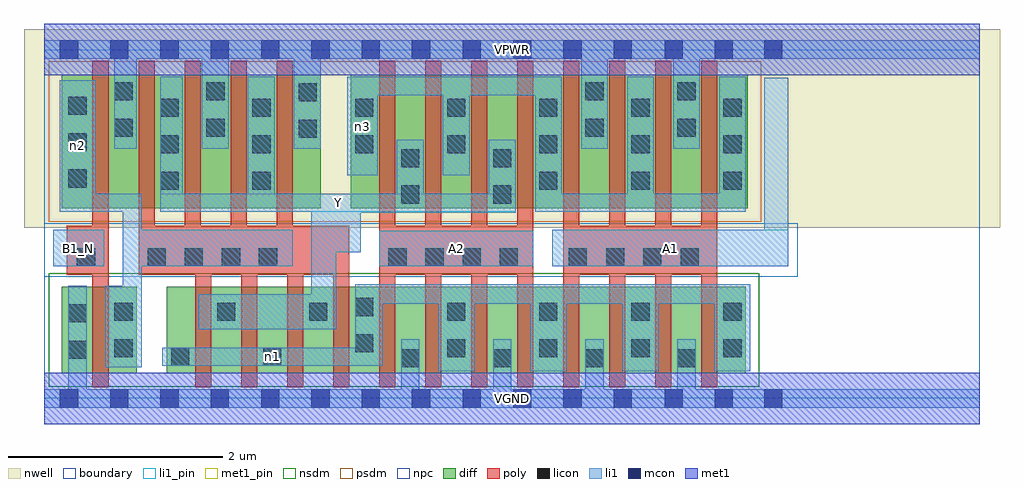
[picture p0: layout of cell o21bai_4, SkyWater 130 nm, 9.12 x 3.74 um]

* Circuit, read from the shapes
.subckt o21bai_4 A1 A2 B1_N VGND VPWR Y n1 n2 n3
XM1 n2 B1_N VGND VSUBS sky130_fd_pr__nfet_01v8 w=0.81 l=0.15
XM2 Y n2 n1 VSUBS sky130_fd_pr__nfet_01v8 w=0.81 l=0.15 m=4
XM3 VGND A2 n1 VSUBS sky130_fd_pr__nfet_01v8 w=0.81 l=0.15 m=4
XM4 VGND A1 n1 VSUBS sky130_fd_pr__nfet_01v8 w=0.81 l=0.15 m=4
XM5 VPWR B1_N n2 n4 sky130_fd_pr__pfet_01v8 w=1.25 l=0.15
XM6 Y n2 VPWR n4 sky130_fd_pr__pfet_01v8 w=1.25 l=0.15 m=4
XM7 Y A2 n3 n4 sky130_fd_pr__pfet_01v8 w=1.25 l=0.15 m=4
XM8 VPWR A1 n3 n4 sky130_fd_pr__pfet_01v8 w=1.25 l=0.15 m=4
.ends

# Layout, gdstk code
import gdstk
lib = gdstk.Library(unit=1e-6, precision=1e-09)
def R(c, l, rs):  # rectangles x0, y0, x1, y1
    for r in rs: c.add(gdstk.rectangle(r[:2], r[2:], *l))
def A(c, l, x, y, w, h, nx, ny, dx, dy):  # array of equal rectangles
    R(c, l, [(x+i*dx, y+j*dy, x+i*dx+w, y+j*dy+h) for i in range(nx) for j in range(ny)])
nwell = (64, 20)
diff = (65, 20)
poly = (66, 20)
licon = (66, 44)
li1_pin = (67, 16)
li1 = (67, 20)
mcon = (67, 44)
met1_pin = (68, 16)
met1 = (68, 20)
nsdm = (93, 44)
psdm = (94, 20)
npc = (95, 20)
boundary = (235, 4)

o21bai_4 = lib.new_cell('o21bai_4')
R(o21bai_4, nwell, [(-0.19,1.595,8.93,3.45), (0,1.595,8.74,3.45)])
R(o21bai_4, diff, [(0.165,0.235,0.865,1.045), (1.145,0.235,6.555,1.045), (0.165,1.775,2.585,3.025), (2.865,1.775,6.575,3.025)])
A(o21bai_4, poly, 1.41, 0.105, 0.15, 1.51, 4, 1, 0.43, 0)
A(o21bai_4, poly, 3.13, 0.105, 0.15, 3.05, 8, 1, 0.43, 0)
A(o21bai_4, poly, 0.88, 1.155, 0.15, 2, 4, 1, 0.43, 0)
R(o21bai_4, poly, [(0.45,0.105,0.6,3.155), (0.21,1.155,0.6,1.615), (0.88,1.155,2.85,1.615), (3.13,1.155,4.57,1.615), (4.85,1.155,6.29,1.615)])
A(o21bai_4, licon, 3.335, 0.29, 0.17, 0.17, 4, 1, 0.86, 0)
A(o21bai_4, licon, 3.765, 0.385, 0.17, 0.17, 4, 2, 0.86, 0.34)
A(o21bai_4, licon, 1.085, 1.95, 0.17, 0.17, 1, 3, 0, 0.34)
A(o21bai_4, licon, 1.945, 1.95, 0.17, 0.17, 1, 3, 0, 0.34)
A(o21bai_4, licon, 4.625, 1.95, 0.17, 0.17, 3, 1, 0.86, 0)
A(o21bai_4, licon, 0.225, 1.97, 0.17, 0.17, 1, 3, 0, 0.34)
A(o21bai_4, licon, 2.905, 2.29, 0.17, 0.17, 5, 2, 0.86, 0.34)
R(o21bai_4, licon, [(1.185,0.305,1.355,0.475), (2.045,0.305,2.215,0.475), (0.225,0.37,0.395,0.54), (0.655,0.385,0.825,0.555), (2.905,0.43,3.075,0.6), (0.225,0.71,0.395,0.88), (0.655,0.725,0.825,0.895), (1.615,0.725,1.785,0.895), (2.475,0.725,2.645,0.895), (2.905,0.77,3.075,0.94), (0.305,1.235,0.475,1.405), (0.965,1.235,1.135,1.405), (1.31,1.235,1.48,1.405), (1.66,1.235,1.83,1.405), (2.005,1.235,2.175,1.405), (3.215,1.235,3.385,1.405), (3.56,1.235,3.73,1.405), (3.91,1.235,4.08,1.405), (4.255,1.235,4.425,1.405), (4.9,1.235,5.07,1.405), (5.25,1.235,5.42,1.405), (5.595,1.235,5.765,1.405), (5.945,1.235,6.115,1.405), (3.335,1.82,3.505,1.99), (4.195,1.82,4.365,1.99), (3.335,2.16,3.505,2.33), (4.195,2.16,4.365,2.33), (2.375,2.435,2.545,2.605), (0.655,2.445,0.825,2.615), (1.515,2.445,1.685,2.615), (5.055,2.445,5.225,2.615), (5.915,2.445,6.085,2.615), (2.375,2.775,2.545,2.945), (0.655,2.785,0.825,2.955), (1.515,2.785,1.685,2.955), (5.055,2.785,5.225,2.955), (5.915,2.785,6.085,2.955)])
R(o21bai_4, li1_pin, [(0.085,1.235,0.56,1.575), (3.13,1.235,4.57,1.565), (4.745,1.235,6.95,1.575), (1.085,1.745,4.405,1.915)])
A(o21bai_4, li1, 3.335, -0.085, 0.17, 0.64, 4, 1, 0.86, 0)
A(o21bai_4, li1, 3.68, 0.255, 0.34, 0.81, 3, 1, 0.86, 0)
A(o21bai_4, li1, 4.585, 1.745, 0.25, 1.26, 3, 1, 0.86, 0)
R(o21bai_4, li1, [(0,-0.085,8.74,0.085), (0.225,-0.085,0.395,1.055), (6.26,0.255,6.595,1.065), (0.57,0.29,0.91,1.055), (0.735,0.29,0.91,1.915), (1.1,0.305,3.16,0.475), (2.905,0.305,3.16,1.065), (1.445,0.645,2.73,0.975), (2.495,0.645,2.73,1.915), (2.905,0.885,6.595,1.065), (0.085,1.235,0.56,1.575), (0.735,1.235,2.32,1.575), (3.13,1.235,4.57,1.565), (4.745,1.235,6.95,1.575), (6.725,1.235,6.95,2.995), (2.495,1.365,2.955,1.915), (2.495,1.735,4.405,1.915), (3.295,1.735,3.545,2.415), (4.155,1.735,4.405,2.415), (0.145,1.745,0.48,2.975), (0.145,1.745,0.91,1.915), (1.085,1.745,4.405,1.915), (1.085,1.745,1.295,3.005), (1.9,1.745,2.155,3.005), (4.585,1.745,6.555,1.915), (2.83,2.085,3.115,3.005), (3.725,2.085,3.975,3.005), (0.655,2.335,0.865,3.345), (1.47,2.335,1.725,3.345), (2.33,2.335,2.585,3.345), (5.015,2.335,5.265,3.345), (5.875,2.335,6.125,3.345), (2.83,2.835,4.835,3.005), (0,3.175,8.74,3.345)])
A(o21bai_4, mcon, 0.145, -0.085, 0.17, 0.17, 8, 2, 0.47, 3.26)
A(o21bai_4, mcon, 3.91, -0.085, 0.17, 0.17, 4, 2, 0.47, 3.26)
R(o21bai_4, mcon, [(5.795,-0.085,5.965,0.085), (6.265,-0.085,6.435,0.085), (6.725,-0.085,6.895,0.085), (5.795,3.175,5.965,3.345), (6.265,3.175,6.435,3.345), (6.725,3.175,6.895,3.345)])
R(o21bai_4, met1_pin, [(0,-0.24,8.74,0.24), (0,3.02,8.74,3.5)])
R(o21bai_4, met1, [(0,-0.24,8.74,0.24), (0,3.02,8.74,3.5)])
R(o21bai_4, nsdm, [(0.04,0.11,6.68,1.17)])
R(o21bai_4, psdm, [(0.04,1.65,6.7,3.15)])
R(o21bai_4, npc, [(0,1.135,7.04,1.635)])
R(o21bai_4, boundary, [(0,0,8.74,3.26)])
o21bai_4.add(gdstk.Label('A1', (5.847,1.405), layer=67, texttype=5))
o21bai_4.add(gdstk.Label('A2', (3.85,1.4), layer=67, texttype=5))
o21bai_4.add(gdstk.Label('B1_N', (0.322,1.405), layer=67, texttype=5))
o21bai_4.add(gdstk.Label('Y', (2.745,1.83), layer=67, texttype=5))
o21bai_4.add(gdstk.Label('n1', (2.13,0.39), layer=67, texttype=5))
o21bai_4.add(gdstk.Label('n2', (0.312,2.36), layer=67, texttype=5))
o21bai_4.add(gdstk.Label('n3', (2.972,2.545), layer=67, texttype=5))
o21bai_4.add(gdstk.Label('VPWR', (4.37,3.26), layer=68, texttype=5))
o21bai_4.add(gdstk.Label('VGND', (4.37,0), layer=68, texttype=5))
o21bai_4.add(gdstk.Label('A1', (5.847,1.405), layer=67, texttype=16))
o21bai_4.add(gdstk.Label('A2', (3.85,1.4), layer=67, texttype=16))
o21bai_4.add(gdstk.Label('B1_N', (0.322,1.405), layer=67, texttype=16))
o21bai_4.add(gdstk.Label('Y', (2.745,1.83), layer=67, texttype=16))
o21bai_4.add(gdstk.Label('VPWR', (4.37,3.26), layer=68, texttype=16))
o21bai_4.add(gdstk.Label('VGND', (4.37,0), layer=68, texttype=16))

lib.write_gds('o21bai_4.gds')
